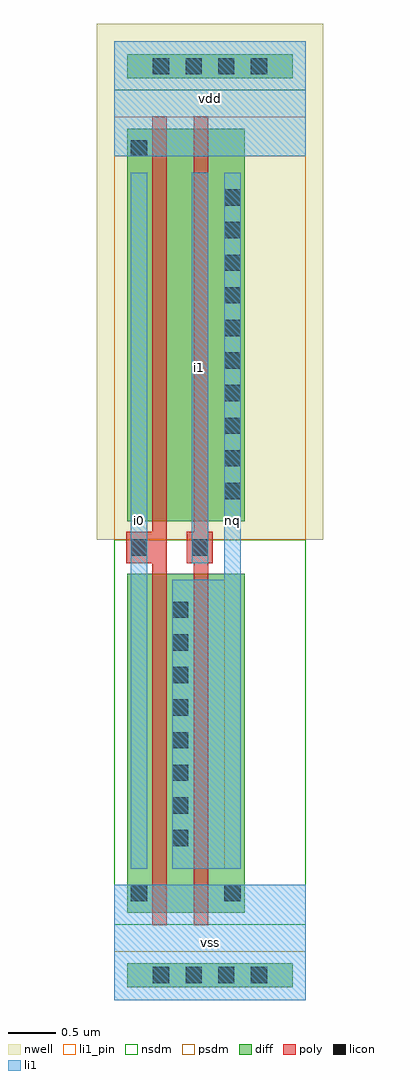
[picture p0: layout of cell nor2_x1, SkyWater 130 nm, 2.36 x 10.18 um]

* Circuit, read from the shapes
.subckt nor2_x1 i0 i1 nq vdd vss
XM1 nq i0 vss VSUBS sky130_fd_pr__nfet_01v8 w=3.535 l=0.15
XM2 vss i1 nq VSUBS sky130_fd_pr__nfet_01v8 w=3.535 l=0.15
XM3 n1 i0 vdd n2 sky130_fd_pr__pfet_01v8 w=4.095 l=0.15
XM4 nq i1 n1 n2 sky130_fd_pr__pfet_01v8 w=4.095 l=0.15
.ends

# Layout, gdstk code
import gdstk
lib = gdstk.Library(unit=1e-6, precision=1e-09)
def R(c, l, rs):  # rectangles x0, y0, x1, y1
    for r in rs: c.add(gdstk.rectangle(r[:2], r[2:], *l))
def A(c, l, x, y, w, h, nx, ny, dx, dy):  # array of equal rectangles
    R(c, l, [(x+i*dx, y+j*dy, x+i*dx+w, y+j*dy+h) for i in range(nx) for j in range(ny)])
nwell = (64, 20)
diff = (65, 20)
poly = (66, 20)
licon = (66, 44)
li1_pin = (67, 16)
li1 = (67, 20)
nsdm = (93, 44)
psdm = (94, 20)

nor2_x1 = lib.new_cell('nor2_x1')
R(nor2_x1, nwell, [(-0.18,4.8,2.18,10.18), (-0.045,4.815,0.505,9.27), (-0.045,4.815,0.565,9.27), (-0.03,4.815,0.98,9.27), (0.375,4.815,1.005,9.27), (0.4,4.815,1.41,9.27), (0.445,4.815,0.935,9.27), (0.875,4.815,1.54,9.27), (0.93,4.815,1.54,9.27), (0.93,4.925,1.54,8.755), (-0.045,8.5,0.565,9.27), (-0.045,9.435,2.045,10.045), (0.105,9.435,1.895,10.045)])
R(nor2_x1, diff, [(0.135,0.135,1.865,0.385), (0.285,0.135,1.715,0.385), (0.135,0.91,0.385,4.445), (0.135,0.91,0.385,1.32), (0.135,0.91,0.325,4.445), (0.15,0.91,0.8,4.445), (0.565,0.91,0.815,4.445), (0.58,0.91,1.23,4.445), (0.625,0.91,0.755,4.445), (1.055,0.91,1.36,4.445), (1.11,0.91,1.36,4.445), (1.11,0.91,1.36,1.32), (0.565,1.485,0.815,4.275), (0.135,4.995,0.385,9.09), (0.135,4.995,0.325,9.09), (0.15,4.995,0.8,9.09), (0.555,4.995,0.825,9.09), (0.58,4.995,1.23,9.09), (0.625,4.995,0.755,9.09), (1.055,4.995,1.36,9.09), (1.11,4.995,1.36,9.09), (1.11,5.105,1.36,8.575), (0.135,8.68,0.385,9.09), (0.135,9.615,1.865,9.865), (0.285,9.615,1.715,9.865)])
R(nor2_x1, poly, [(0.4,0.78,0.55,4.575), (0.4,0.78,0.55,4.865), (0.83,0.78,0.98,4.575), (0.83,0.78,0.98,4.865), (0.125,4.555,0.395,4.885), (0.26,4.555,0.475,4.885), (0.76,4.555,1.03,4.885), (0.895,4.555,0.905,4.885), (0.4,4.865,0.55,9.22), (0.83,4.865,0.98,9.22)])
A(nor2_x1, licon, 0.405, 0.175, 0.17, 0.17, 4, 2, 0.34, 9.48)
A(nor2_x1, licon, 0.605, 1.605, 0.17, 0.17, 1, 8, 0, 0.34)
A(nor2_x1, licon, 1.15, 5.225, 0.17, 0.17, 1, 10, 0, 0.34)
R(nor2_x1, licon, [(0.175,1.03,0.345,1.2), (1.15,1.03,1.32,1.2), (0.175,4.635,0.345,4.805), (0.81,4.635,0.98,4.805), (0.175,8.8,0.345,8.97)])
R(nor2_x1, li1_pin, [(0,0,2,1.2), (0.175,1.37,0.345,8.63), (1.15,1.37,1.32,8.63), (0.81,4.555,0.98,8.63), (0,8.8,2,10)])
R(nor2_x1, li1, [(0,0,2,1.2), (0.405,0.095,1.595,0.425), (0.095,1.03,0.425,1.2), (1.07,1.03,1.4,1.2), (0.175,1.37,0.345,8.63), (0.605,1.37,0.775,4.385), (0.69,1.37,1.235,4.385), (1.15,1.37,1.32,8.63), (0.605,1.525,0.775,4.235), (1.15,4.055,1.32,4.385), (0.175,4.555,0.345,4.885), (0.81,4.555,0.98,4.885), (0.81,4.555,0.98,8.63), (1.15,5.055,1.32,8.63), (1.15,5.145,1.32,8.535), (0,8.8,2,10), (0.095,8.8,0.425,8.97), (0.405,9.575,1.595,9.905)])
R(nor2_x1, nsdm, [(0,0.785,2,4.8), (0.01,0.785,0.51,4.57), (0.01,0.785,0.45,4.57), (0.01,0.785,0.51,1.445), (0.025,0.785,0.925,4.57), (0.44,0.785,0.94,4.57), (0.455,0.785,1.355,4.57), (0.5,0.785,0.88,4.57), (0.93,0.785,1.485,4.57), (0.985,0.785,1.485,4.57), (0.985,0.785,1.485,1.445), (0.33,0.84,0.62,4.515), (0.76,0.84,1.05,4.515), (0.44,1.36,0.94,4.4), (0,9.49,2,10), (0,9.49,2,9.99), (0.15,9.49,1.85,9.99)])
R(nor2_x1, psdm, [(0,0,2,0.51), (0,0.01,2,0.51), (0.15,0.01,1.85,0.51), (0,4.8,2,9.215), (0.01,4.87,0.45,9.215), (0.01,4.87,0.51,9.215), (0.025,4.87,0.925,9.215), (0.43,4.87,0.95,9.215), (0.455,4.87,1.355,9.215), (0.5,4.87,0.88,9.215), (0.93,4.87,1.485,9.215), (0.985,4.87,1.485,9.215), (0.33,4.925,0.62,9.16), (0.76,4.925,1.05,9.16), (0.985,4.98,1.485,8.7), (0.01,8.555,0.51,9.215)])
nor2_x1.add(gdstk.Label('vss', (1,0.6), layer=67, texttype=16))
nor2_x1.add(gdstk.Label('vdd', (1,9.4), layer=67, texttype=16))
nor2_x1.add(gdstk.Label('nq', (1.235,5), layer=67, texttype=16))
nor2_x1.add(gdstk.Label('i0', (0.26,5), layer=67, texttype=16))
nor2_x1.add(gdstk.Label('i1', (0.895,6.593), layer=67, texttype=16))

lib.write_gds('nor2_x1.gds')
